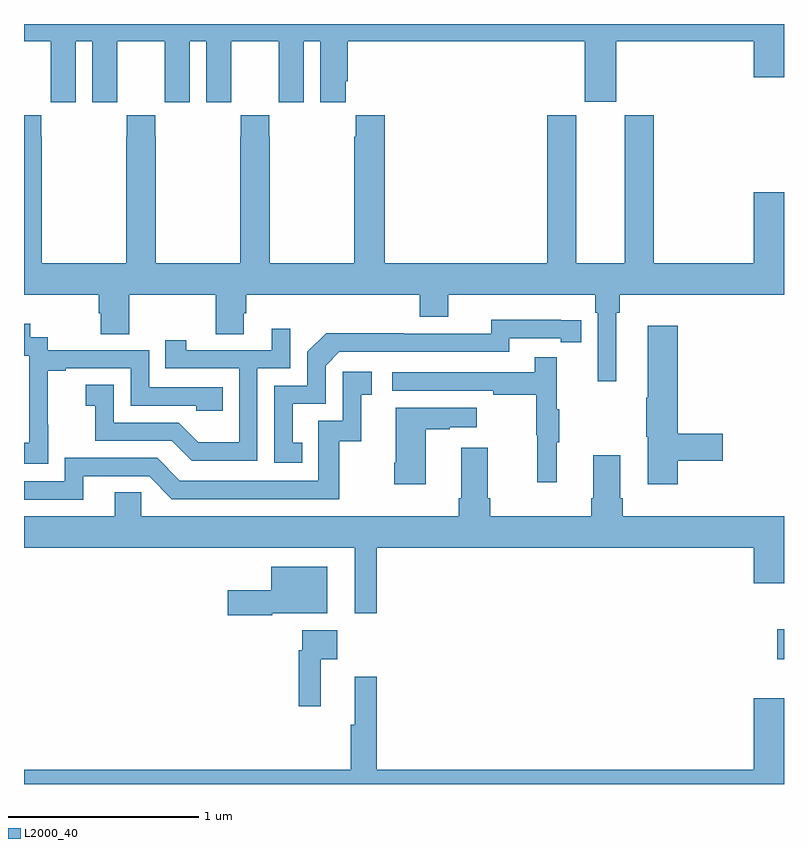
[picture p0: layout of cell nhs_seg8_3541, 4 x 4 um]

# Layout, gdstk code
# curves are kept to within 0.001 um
import gdstk
lib = gdstk.Library(unit=1e-6, precision=1e-09)
def R(c, l, rs):  # rectangles x0, y0, x1, y1
    for r in rs: c.add(gdstk.rectangle(r[:2], r[2:], *l))
def P(c, l, *ps):  # polygons
    for p in ps: c.add(gdstk.Polygon(p, *l))
L2000_40 = (2000, 40)

nhs_seg8_3541 = lib.new_cell('nhs_seg8_3541')
R(nhs_seg8_3541, L2000_40, [(332.964,1138.556,333,1138.714)])
P(nhs_seg8_3541, L2000_40, [(329.272,1141.808),(329.36,1141.808),(329.36,1141.488),(329.49,1141.488),(329.49,1141.6),(329.491,1141.6),(329.491,1141.808),(329.741,1141.808),(329.741,1141.6),(329.742,1141.6),(329.742,1141.488),(329.872,1141.488),(329.872,1141.808),(329.96,1141.808),(329.96,1141.488),(330.09,1141.488),(330.09,1141.6),(330.091,1141.6),(330.091,1141.808),(330.341,1141.808),(330.341,1141.6),(330.342,1141.6),(330.342,1141.488),(330.472,1141.488),(330.472,1141.808),(330.56,1141.808),(330.56,1141.488),(330.694,1141.488),(330.694,1141.6),(330.704,1141.6),(330.704,1141.808),(331.952,1141.808),(331.952,1141.491),(332.116,1141.491),(332.116,1141.808),(332.84,1141.808),(332.84,1141.62),(333,1141.62),(333,1141.9),(329,1141.9),(329,1141.808),(329.141,1141.808),(329.141,1141.6),(329.142,1141.6),(329.142,1141.488),(329.272,1141.488)],
  [(332.116,1140.38),(332.135,1140.38),(332.135,1140.476),(333,1140.476),(333,1141.015),(332.84,1141.015),(332.84,1140.64),(332.315,1140.64),(332.315,1141.419),(332.162,1141.419),(332.162,1140.64),(331.906,1140.64),(331.906,1141.419),(331.754,1141.419),(331.754,1140.64),(330.899,1140.64),(330.899,1141.42),(330.745,1141.42),(330.745,1141.307),(330.739,1141.307),(330.739,1140.64),(330.294,1140.64),(330.294,1141.307),(330.291,1141.307),(330.291,1141.42),(330.141,1141.42),(330.141,1141.307),(330.139,1141.307),(330.139,1140.64),(329.694,1140.64),(329.694,1141.307),(329.691,1141.307),(329.691,1141.42),(329.541,1141.42),(329.541,1141.307),(329.539,1141.307),(329.539,1140.64),(329.094,1140.64),(329.094,1141.307),(329.091,1141.307),(329.091,1141.42),(329,1141.42),(329,1140.476),(329.393,1140.476),(329.393,1140.378),(329.405,1140.378),(329.405,1140.268),(329.553,1140.268),(329.553,1140.476),(330.01,1140.476),(330.01,1140.268),(330.157,1140.268),(330.157,1140.378),(330.17,1140.378),(330.17,1140.476),(331.082,1140.476),(331.082,1140.359),(331.234,1140.359),(331.234,1140.476),(332.006,1140.476),(332.006,1140.38),(332.019,1140.38),(332.019,1140.021),(332.116,1140.021)],
  [(330.464,1139.697),(330.415,1139.697),(330.415,1139.901),(330.588,1139.901),(330.588,1140.102),(330.66,1140.174),(331.554,1140.174),(331.554,1140.246),(331.826,1140.246),(331.826,1140.226),(331.934,1140.226),(331.934,1140.342),(331.458,1140.343),(331.458,1140.27),(330.998,1140.27),(330.998,1140.272),(330.59,1140.272),(330.492,1140.174),(330.492,1139.997),(330.318,1139.997),(330.318,1139.592),(330.464,1139.592)],
  [(329.127,1139.791),(329.126,1139.791),(329.126,1140.075),(329.221,1140.075),(329.221,1140.087),(329.562,1140.087),(329.562,1139.892),(329.907,1139.892),(329.907,1139.865),(330.047,1139.865),(330.047,1139.988),(329.658,1139.988),(329.658,1140.183),(329.124,1140.183),(329.124,1140.252),(329.032,1140.252),(329.032,1140.322),(329,1140.322),(329,1140.153),(329.028,1140.153),(329.028,1139.924),(329.027,1139.924),(329.027,1139.695),(329,1139.695),(329,1139.585),(329.127,1139.585)],
  [(332.441,1139.602),(332.677,1139.602),(332.677,1139.744),(332.441,1139.744),(332.441,1140.313),(332.282,1140.313),(332.282,1139.933),(332.275,1139.933),(332.275,1139.727),(332.282,1139.727),(332.282,1139.478),(332.441,1139.478)],
  [(330.228,1140.087),(330.402,1140.087),(330.402,1140.295),(330.305,1140.295),(330.305,1140.183),(329.854,1140.183),(329.854,1140.235),(329.743,1140.235),(329.743,1140.087),(330.132,1140.087),(330.132,1139.698),(329.918,1139.698),(329.814,1139.802),(329.472,1139.802),(329.472,1140.001),(329.325,1140.001),(329.325,1139.891),(329.374,1139.891),(329.374,1139.706),(329.777,1139.706),(329.882,1139.601),(330.228,1139.601)],
  [(331.805,1139.699),(331.816,1139.699),(331.816,1139.873),(331.805,1139.873),(331.805,1140.145),(331.687,1140.145),(331.687,1140.066),(330.939,1140.066),(330.939,1139.97),(331.471,1139.97),(331.471,1139.95),(331.695,1139.95),(331.695,1139.736),(331.702,1139.736),(331.702,1139.487),(331.805,1139.487)],
  [(329.311,1139.52),(329.658,1139.52),(329.778,1139.4),(330.658,1139.4),(330.658,1139.703),(330.776,1139.703),(330.776,1139.949),(330.829,1139.949),(330.829,1140.07),(330.678,1140.07),(330.678,1139.811),(330.549,1139.811),(330.549,1139.496),(329.82,1139.496),(329.7,1139.616),(329.214,1139.616),(329.214,1139.493),(329,1139.493),(329,1139.397),(329.311,1139.397)],
  [(331.114,1139.767),(331.241,1139.767),(331.241,1139.777),(331.384,1139.777),(331.384,1139.881),(330.956,1139.881),(330.956,1139.59),(330.949,1139.59),(330.949,1139.478),(331.114,1139.478)],
  [(330.857,1139.144),(332.84,1139.144),(332.84,1138.956),(333,1138.956),(333,1139.308),(332.15,1139.308),(332.15,1139.404),(332.137,1139.404),(332.137,1139.629),(331.997,1139.629),(331.997,1139.404),(331.985,1139.404),(331.985,1139.308),(331.454,1139.308),(331.454,1139.404),(331.441,1139.404),(331.441,1139.671),(331.301,1139.671),(331.301,1139.404),(331.289,1139.404),(331.289,1139.308),(329.616,1139.308),(329.616,1139.435),(329.477,1139.435),(329.477,1139.308),(329,1139.308),(329,1139.144),(330.74,1139.144),(330.74,1138.8),(330.857,1138.8)],
  [(330.306,1138.799),(330.595,1138.799),(330.595,1139.044),(330.302,1139.044),(330.302,1138.921),(330.072,1138.921),(330.072,1138.787),(330.306,1138.787)],
  [(330.563,1138.556),(330.649,1138.556),(330.649,1138.708),(330.465,1138.708),(330.465,1138.604),(330.445,1138.604),(330.445,1138.308),(330.563,1138.308)],
  [(333,1138.351),(332.84,1138.351),(332.84,1137.976),(330.857,1137.976),(330.857,1138.465),(330.74,1138.465),(330.74,1138.212),(330.721,1138.212),(330.721,1137.976),(329,1137.976),(329,1137.9),(333,1137.9)])

lib.write_gds('nhs_seg8_3541.gds')
